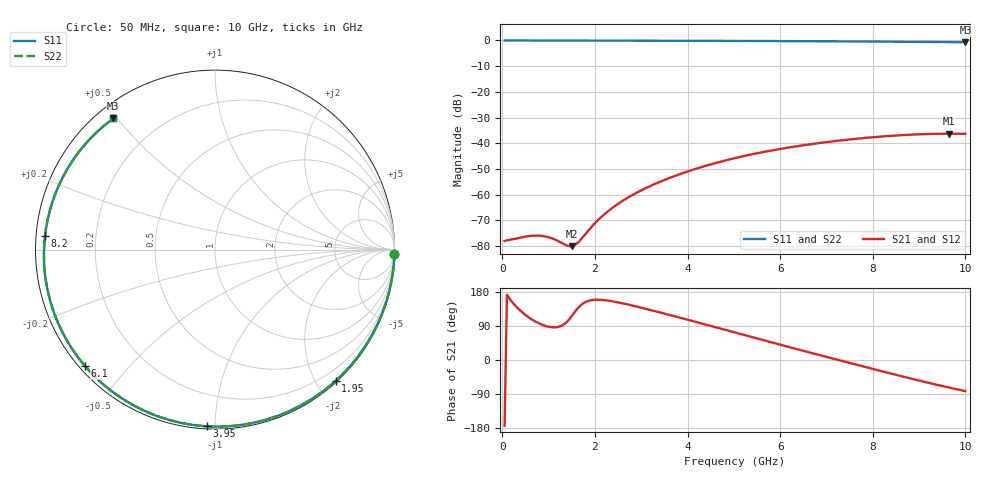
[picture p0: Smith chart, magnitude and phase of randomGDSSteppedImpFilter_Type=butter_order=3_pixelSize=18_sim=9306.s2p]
! freq	dB(S11)	phase(S11)	dB(S12)	phase(S12)
!  dB(S21)	phase(S21)	dB(S22)	phase(S22)
!S-par simulation data
#  GHz  S  DB  R 50
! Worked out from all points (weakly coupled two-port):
!   200 points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, 50 MHz to 10 GHz, reference 50 ohm
!   highest |S21| = -36.26 dB at 9.65 GHz (marker M1); lowest = -80.0 dB at 1.5 GHz (marker M2)
!   lowest |S11| = -0.7 dB at 10 GHz (marker M3), VSWR 25.61, Z = 2.42 + j24.4 ohm
!   |S11| at or under -10 dB: nowhere
!   |S22| runs from -0.7 to 0.0 dB; largest |S21 - S12| = 0
!   S11 on the Smith chart (normalised r, x): 50 MHz: 0, -92; 1.95 GHz: 0.02, -2.28; 3.95 GHz: 0.01, -0.96; 6.1 GHz: 0.02, -0.38; 8.2 GHz: 0.03, +0.04; 10 GHz: 0.05, +0.49
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0.05  -0.00 -1.2  -77.99 -173.5  -77.99 -173.5  -0.00 -1.2
0.55  -0.02 -13.6  -76.16 114.2  -76.16 114.2  -0.02 -13.6
0.8  -0.03 -19.8  -75.95 96.3  -75.95 96.3  -0.02 -19.8
1.05  -0.03 -25.9  -76.81 86.8  -76.81 86.8  -0.03 -25.9
1.4  -0.04 -34.3  -79.77 101.2  -79.77 101.2  -0.04 -34.3
1.5  -0.05 -36.7  -80.01 115.9  -80.01 115.9  -0.05 -36.7
1.6  -0.05 -39.1  -79.12 132.2  -79.12 132.2  -0.05 -39.1
1.75  -0.05 -42.7  -76.24 149.7  -76.24 149.7  -0.05 -42.7
1.95  -0.06 -47.4  -72.03 158.3  -72.03 158.3  -0.06 -47.4
2.25  -0.07 -54.4  -66.90 157.3  -66.90 157.3  -0.07 -54.4
2.55  -0.08 -61.4  -62.94 150.8  -62.94 150.8  -0.08 -61.4
3.4  -0.11 -80.6  -55.00 125.6  -55.00 125.6  -0.11 -80.6
3.95  -0.13 -92.6  -51.27 108.0  -51.27 108.0  -0.13 -92.6
5.05  -0.18 -116.1  -45.65 71.7  -45.65 71.7  -0.18 -116.1
6.1  -0.25 -138.3  -41.89 37.2  -41.89 37.2  -0.25 -138.2
6.7  -0.29 -151.0  -40.25 17.8  -40.25 17.8  -0.29 -151.0
7.45  -0.36 -167.4  -38.60 -6.1  -38.60 -6.1  -0.36 -167.4
8.2  -0.44 175.3  -37.35 -29.8  -37.35 -29.8  -0.44 175.3
8.35  -0.46 171.7  -37.15 -34.5  -37.15 -34.5  -0.46 171.7
9  -0.54 155.4  -36.50 -54.3  -36.50 -54.3  -0.54 155.4
9.65  -0.63 137.9  -36.26 -72.9  -36.26 -72.9  -0.63 137.9
10  -0.68 127.8  -36.32 -82.2  -36.32 -82.2  -0.68 127.8
